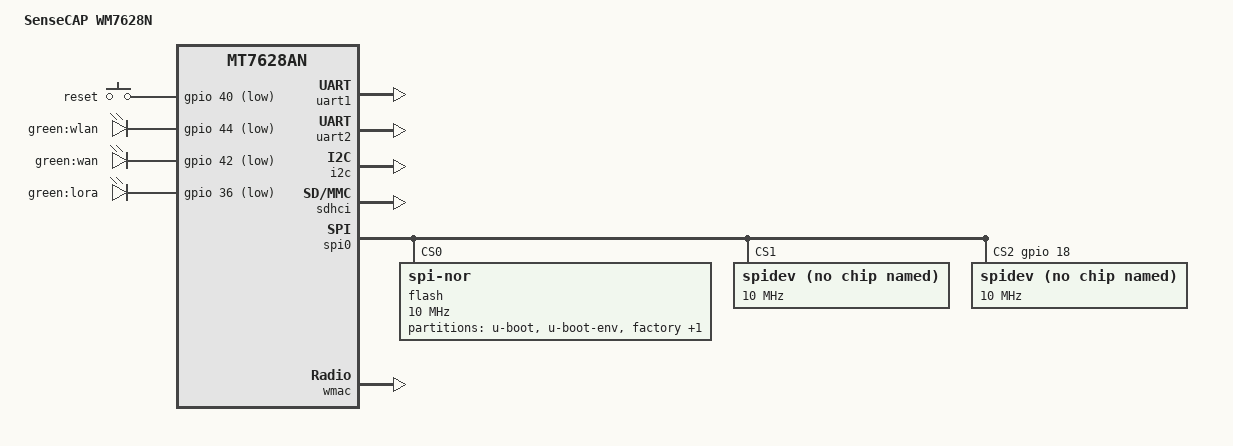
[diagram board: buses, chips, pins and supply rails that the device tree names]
// SPDX-License-Identifier: GPL-2.0-or-later OR MIT

#include "mt7628an.dtsi"

#include <dt-bindings/gpio/gpio.h>
#include <dt-bindings/input/input.h>

/ {
	compatible = "sensecap,wm7628n", "mediatek,mt7628an-soc";
	model = "SenseCAP WM7628N";

	keys {
		compatible = "gpio-keys";

		reset {
			label = "reset";
			gpios = <&gpio 40 GPIO_ACTIVE_LOW>;
			linux,code = <KEY_RESTART>;
		};
	};

	leds {
		compatible = "gpio-leds";

		wlan {
			label = "green:wlan";
			gpios = <&gpio 44 GPIO_ACTIVE_LOW>;
		};

		wan {
			label = "green:wan";
			gpios = <&gpio 42 GPIO_ACTIVE_LOW>;
		};

		lora {
			label = "green:lora";
			gpios = <&gpio 36 GPIO_ACTIVE_LOW>;
		};
	};
};

&state_default {
	gpio {
		groups = "i2s","p1led_an","p2led_an","spis","wdt","pwm0","pwm1","perst","wled_an","p4led_an","refclk";
		function = "gpio";
	};
};

&uart1 {
	status = "okay";
};

&uart2 {
	status = "okay";
};

&i2c {
	status = "okay";
};

&sdhci {
	status = "okay";
};

&spi0 {
	status = "okay";
	pinctrl-0 = <&spi_pins>, <&spi_cs1_pins>;
	cs-gpios = <0>, <0>, <&gpio 18 0>;
	flash@0 {
		compatible = "jedec,spi-nor";
		reg = <0>;
		spi-max-frequency = <10000000>;

		partitions {
			compatible = "fixed-partitions";
			#address-cells = <1>;
			#size-cells = <1>;

			partition@0 {
				label = "u-boot";
				reg = <0x0 0x30000>;
				read-only;
			};

			partition@30000 {
				label = "u-boot-env";
				reg = <0x30000 0x10000>;
			};

			factory: partition@40000 {
				label = "factory";
				reg = <0x40000 0x10000>;
			};

			partition@50000 {
				compatible = "denx,uimage";
				label = "firmware";
				reg = <0x50000 0x1FB0000>;
			};
		};
		
	};
	spidev@1 {
		compatible = "rohm,dh2228fv";
		reg = <1>;
		spi-max-frequency = <10000000>;
	};
	spidev@2 {
		compatible = "rohm,dh2228fv";
		reg = <2>;
		spi-max-frequency = <10000000>;
	};
};

// 0x28 地址的mac 地址 wmac 保持一致
&ethernet {
	mtd-mac-address = <&factory 0x2e>;
};

&wmac {
	status = "okay";
};
